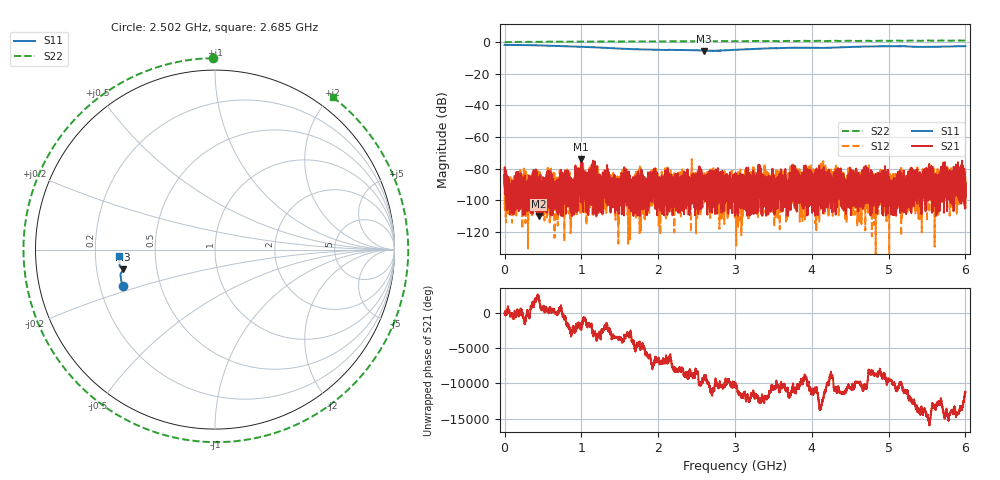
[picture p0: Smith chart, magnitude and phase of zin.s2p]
!  8/12/2020  03:02:05
! Ref Plane: 0.000 mm
# MHZ S MA R  50
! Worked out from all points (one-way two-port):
!   10001 points, 300 kHz to 6 GHz, reference 50 ohm
!   highest |S21| = -74.13 dB at 993.9 MHz (marker M1); lowest = -110.0 dB at 446.7 MHz (marker M2)
!   lowest |S11| = -5.6 dB at 2.596 GHz (marker M3), VSWR 3.19, Z = 15.8 - j4.79 ohm
!   |S11| at or under -10 dB: nowhere
!   |S22| runs from 0.0 to 1.1 dB; largest |S21 - S12| = 0.00021
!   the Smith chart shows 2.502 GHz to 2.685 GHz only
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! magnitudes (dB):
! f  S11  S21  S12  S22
! 300 kHz  -1.7  -84.7  -89.9  0.0
! 446.7 MHz  -2.0  -110.0  -87.2  0.2
! 993.9 MHz  -2.9  -74.1  -93.0  0.4
! 1 GHz  -2.9  -78.9  -92.1  0.4
! 1.103 GHz  -3.1  -81.6  -95.9  0.4
! 1.164 GHz  -3.2  -87.3  -102.8  0.4
! 1.234 GHz  -3.4  -90.0  -86.8  0.4
! 1.652 GHz  -4.4  -100.3  -94.3  0.5
! 2.001 GHz  -4.8  -95.6  -92.3  0.5
! 2.596 GHz  -5.6  -92.2  -87.2  0.6
! 2.749 GHz  -5.4  -99.7  -87.2  0.6
! 3 GHz  -4.9  -84.7  -88.9  0.6
! 3.505 GHz  -3.8  -104.7  -90.9  0.7
! 4 GHz  -3.5  -95.0  -85.8  0.7
! 4.186 GHz  -3.6  -89.0  -98.9  0.7
! 4.648 GHz  -2.8  -103.2  -91.1  0.9
! 5 GHz  -2.6  -96.0  -96.2  0.8
! 5.096 GHz  -2.6  -88.4  -83.2  1.0
! 5.194 GHz  -2.5  -91.2  -81.3  0.8
! 5.455 GHz  -3.0  -88.4  -89.3  1.0
! 5.927 GHz  -2.6  -82.7  -86.6  1.1
! 6 GHz  -2.5  -89.7  -81.1  0.9
